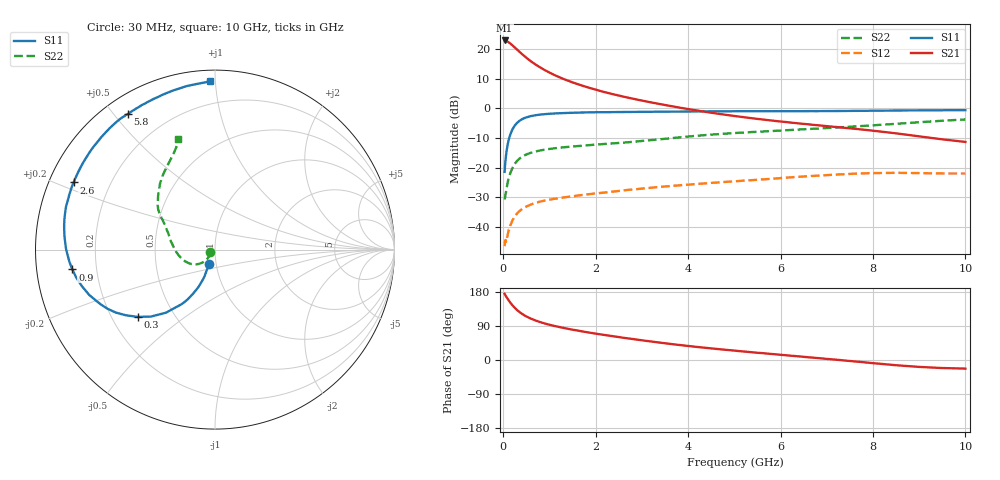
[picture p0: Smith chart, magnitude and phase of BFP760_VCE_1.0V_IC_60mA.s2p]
! Infineon Technologies  Discrete & RF Semiconductors
! BFP760
! VCE =  1.0 V,  IC =  60 mA
! Common Emitter S-Parameters:  Nov 2012
# GHz  S  MA  R  50
!  f  S11  S21  S12  S22
! GHz  MAG  ANG  MAG  ANG  MAG  ANG  MAG  ANG
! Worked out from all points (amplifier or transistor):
!   99 points, 30 MHz to 10 GHz, reference 50 ohm
!   highest |S21| = 23.0 dB at 30 MHz (marker M1)
!   |S21| within 3 dB of that: start of sweep to 293.8 MHz
!   unconditionally stable (mu >= 1): start of sweep to end of sweep
!   at 350 MHz: K = 1.91, MAG = 21.5 dB, |S12| = -34.7 dB
!   at 3.5 GHz: K = 2.03, MAG = 8.0 dB, |S12| = -26.4 dB
!   at 10 GHz: K = 2.11, MAG = -0.6 dB, |S12| = -22.0 dB
!   S11 on the Smith chart (normalised r, x): 30 MHz: 0.92, -0.14; 300 MHz: 0.31, -0.34; 900 MHz: 0.11, -0.07; 2.6 GHz: 0.07, +0.22; 5.8 GHz: 0.07, +0.54; 10 GHz: 0.06, +0.97
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0.03  0.0849 -113.9  14.13 174.8  0.0047 23.6  0.0289 -154.9
0.05  0.1349 -111.7  14.01 170.1  0.006 32.4  0.0359 -142.3
0.07  0.1834 -112.2  13.79 166.2  0.0064 42.0  0.0439 -134.2
0.11  0.276 -116.5  13.29 158.9  0.0082 47.1  0.0625 -130.4
0.15  0.358 -121.6  12.59 152.0  0.0103 49.1  0.0796 -130.4
0.2  0.4456 -127.9  11.68 144.3  0.0129 50.6  0.099 -133.6
0.25  0.516 -133.7  10.75 137.7  0.0148 49.5  0.1159 -137.4
0.3  0.5714 -139.0  9.905 131.8  0.0168 47.4  0.13 -141.0
0.4  0.6547 -147.6  8.396 122.4  0.0197 44.6  0.1514 -147.8
0.5  0.7068 -154.5  7.213 115.0  0.022 42.2  0.167 -153.7
0.6  0.7446 -160.1  6.271 109.1  0.0238 40.1  0.1787 -158.5
0.7  0.7693 -164.7  5.541 104.2  0.0254 38.3  0.1875 -162.8
0.9  0.8024 -172.1  4.452 96.3  0.0277 36.3  0.2013 -169.6
1.3  0.836 177.1  3.168 84.8  0.0313 35.0  0.2203 -178.7
1.7  0.855 169.0  2.448 75.7  0.0344 34.6  0.2342 174.8
2.6  0.8722 154.6  1.588 58.7  0.0412 35.3  0.2648 164.0
3.4  0.8824 143.7  1.184 45.7  0.0472 34.6  0.302 155.5
5.1  0.8987 127.3  0.73 23.6  0.0594 31.8  0.3885 144.6
5.8  0.8983 122.7  0.627 16.0  0.0648 30.2  0.4152 140.1
6.7  0.9027 116.4  0.53 6.3  0.0724 26.5  0.4538 133.7
8.5  0.9246 99.8  0.38 -13.8  0.0817 14.5  0.5502 117.6
10  0.9382 91.8  0.272 -22.7  0.0796 9.6  0.6526 108.5
